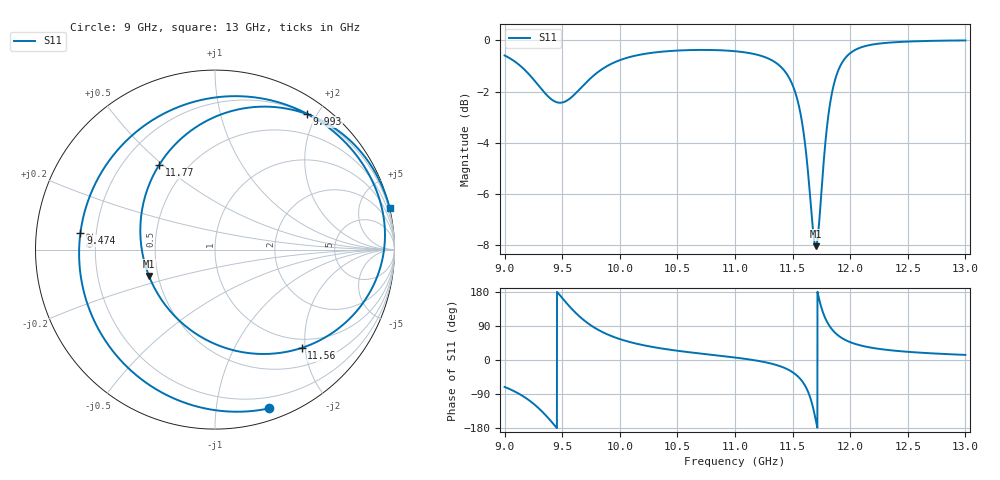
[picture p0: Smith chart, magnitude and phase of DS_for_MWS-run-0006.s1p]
! TOUCHSTONE file generated by CST DESIGN STUDIO
! Date and time: Tue Feb  4 14:18:28 2025
! Project name: C:\Work\MatlabApps\UnitCellOptimizationMatlab\CST\unitcell.cst
! Tree item: Tasks\Sweep1\SPara1\S-Parameters
! Header version: 2024
! Port assignment regex: !\s*Touchstone port\s*([0-9]+)\s*=\s*(CST MWS port|CST DES external port|CST DES block port)\s*(.+)\s* \(\"(.*)\"\)(\s*mode\s*([0-9]+))?.*
! Touchstone port assignment:
! Touchstone port 1 = CST DES external port 1 ("")
# GHz S MA R 50
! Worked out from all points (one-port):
!   4001 points, 9 GHz to 13 GHz, reference 50 ohm
!   lowest |S11| = -8.0 dB at 11.7 GHz (marker M1), VSWR 2.31, Z = 22.3 - j7.77 ohm
!   |S11| at or under -10 dB: nowhere
!   S11 on the Smith chart (normalised r, x): 9 GHz: 0.10, -1.39; 9.474 GHz: 0.14, +0.06; 9.993 GHz: 0.20, +1.87; 11.56 GHz: 0.82, -1.93; 11.77 GHz: 0.35, +0.48; 13 GHz: -0.00, +8.46
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9  0.9346 -71.1
9.143  0.8895 -92.3
9.253  0.8381 -115.9
9.378  0.7772 -152.9
9.474  0.7556 172.9
9.5  0.7563 163.5
9.603  0.7828 128.6
9.703  0.8255 101.5
9.846  0.8788 74.2
9.993  0.9139 55.9
10  0.9151 55.2
10.213  0.9412 38.5
10.5  0.9556 24.4
11  0.9528 6.6
11.33  0.9121 -10.7
11.5  0.8181 -32.2
11.563  0.7302 -48.6
11.639  0.5364 -87.4
11.701  0.3962 -158.2
11.732  0.4448 158.5
11.766  0.5646 123.6
11.805  0.698 97.5
11.848  0.8022 78.7
11.918  0.8955 59.8
12  0.9445 47.1
12.184  0.981 32.5
12.5  0.995 21.6
13  1 13.5
